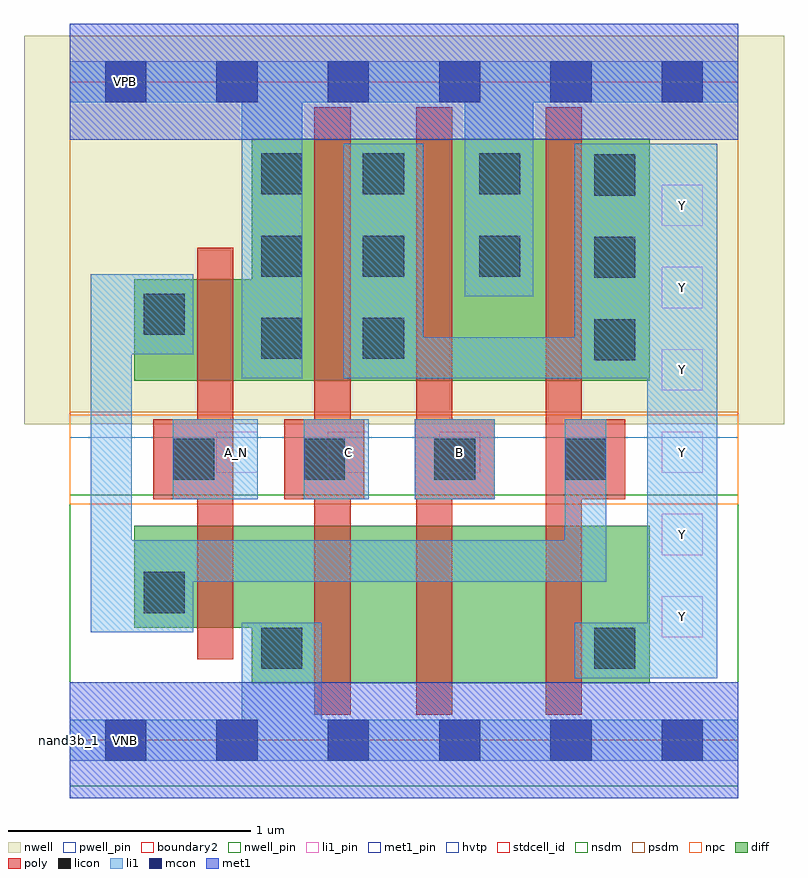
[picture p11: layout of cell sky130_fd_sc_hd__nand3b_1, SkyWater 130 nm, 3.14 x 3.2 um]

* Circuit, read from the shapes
.subckt sky130_fd_sc_hd__nand3b_1 A_N B C VGND VNB VPB VPWR Y
XM1 VGND A_N n1 VNB sky130_fd_pr__nfet_01v8 w=0.42 l=0.15
XM2 n2 C VGND VNB sky130_fd_pr__nfet_01v8 w=0.65 l=0.15
XM3 n3 B n2 VNB sky130_fd_pr__nfet_01v8 w=0.65 l=0.15
XM4 Y n1 n3 VNB sky130_fd_pr__nfet_01v8 w=0.65 l=0.15
XM5 VPWR A_N n1 VPB sky130_fd_pr__pfet_01v8_hvt w=0.42 l=0.15
XM6 Y C VPWR VPB sky130_fd_pr__pfet_01v8_hvt w=1 l=0.15
XM7 VPWR B Y VPB sky130_fd_pr__pfet_01v8_hvt w=1 l=0.15
XM8 Y n1 VPWR VPB sky130_fd_pr__pfet_01v8_hvt w=1 l=0.15
.ends

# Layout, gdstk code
import gdstk
lib = gdstk.Library(unit=1e-6, precision=1e-09)
def R(c, l, rs):  # rectangles x0, y0, x1, y1
    for r in rs: c.add(gdstk.rectangle(r[:2], r[2:], *l))
def A(c, l, x, y, w, h, nx, ny, dx, dy):  # array of equal rectangles
    R(c, l, [(x+i*dx, y+j*dy, x+i*dx+w, y+j*dy+h) for i in range(nx) for j in range(ny)])
def P(c, l, *ps):  # polygons
    for p in ps: c.add(gdstk.Polygon(p, *l))
nwell_pin = (64, 16)
nwell = (64, 20)
diff = (65, 20)
poly = (66, 20)
licon = (66, 44)
li1_pin = (67, 16)
li1 = (67, 20)
mcon = (67, 44)
met1_pin = (68, 16)
met1 = (68, 20)
hvtp = (78, 44)
stdcell_id = (81, 4)
nsdm = (93, 44)
psdm = (94, 20)
npc = (95, 20)
pwell_pin = (122, 16)
boundary2 = (236, 0)

sky130_fd_sc_hd__nand3b_ = lib.new_cell('sky130_fd_sc_hd__nand3b_1')
R(sky130_fd_sc_hd__nand3b_, nwell_pin, [(0.145,2.635,0.315,2.805)])
R(sky130_fd_sc_hd__nand3b_, nwell, [(-0.19,1.305,2.95,2.91)])
P(sky130_fd_sc_hd__nand3b_, diff, [(2.395,2.485),(0.75,2.485),(0.75,1.905),(0.265,1.905),(0.265,1.485),(2.395,1.485)],
  [(2.395,0.885),(0.265,0.885),(0.265,0.465),(0.75,0.465),(0.75,0.235),(2.395,0.235)])
P(sky130_fd_sc_hd__nand3b_, poly, [(2.295,1.325),(2.115,1.325),(2.115,2.615),(1.965,2.615),(1.965,0.105),(2.115,0.105),(2.115,0.995),(2.295,0.995)],
  [(0.675,2.035),(0.525,2.035),(0.525,1.325),(0.345,1.325),(0.345,0.995),(0.525,0.995),(0.525,0.335),(0.675,0.335)],
  [(1.215,1.325),(1.16,1.325),(1.16,2.615),(1.01,2.615),(1.01,1.325),(0.885,1.325),(0.885,0.995),(1.01,0.995),(1.01,0.105),(1.16,0.105),(1.16,0.995),(1.215,0.995)],
  [(1.755,1.325),(1.58,1.325),(1.58,2.615),(1.43,2.615),(1.43,1.325),(1.425,1.325),(1.425,0.995),(1.43,0.995),(1.43,0.105),(1.58,0.105),(1.58,0.995),(1.755,0.995)])
A(sky130_fd_sc_hd__nand3b_, licon, 0.425, 1.075, 0.17, 0.17, 4, 1, 0.54, 0)
A(sky130_fd_sc_hd__nand3b_, licon, 2.165, 1.57, 0.17, 0.17, 1, 3, 0, 0.34)
A(sky130_fd_sc_hd__nand3b_, licon, 0.79, 1.575, 0.17, 0.17, 1, 3, 0, 0.34)
A(sky130_fd_sc_hd__nand3b_, licon, 1.21, 1.575, 0.17, 0.17, 1, 3, 0, 0.34)
R(sky130_fd_sc_hd__nand3b_, licon, [(0.79,0.295,0.96,0.465), (2.165,0.295,2.335,0.465), (0.305,0.525,0.475,0.695), (0.305,1.675,0.475,1.845), (1.69,1.915,1.86,2.085), (1.69,2.255,1.86,2.425)])
A(sky130_fd_sc_hd__nand3b_, li1_pin, 2.445, 0.425, 0.17, 0.17, 1, 6, 0, 0.34)
A(sky130_fd_sc_hd__nand3b_, li1_pin, 0.605, 1.105, 0.17, 0.17, 3, 1, 0.46, 0)
R(sky130_fd_sc_hd__nand3b_, li1, [(0.425,0.995,0.775,1.325), (0.965,0.995,1.235,1.325), (1.425,0.995,1.755,1.325)])
P(sky130_fd_sc_hd__nand3b_, li1, [(2.76,2.805),(0,2.805),(0,2.635),(0.71,2.635),(0.71,1.495),(0.96,1.495),(0.96,2.635),(1.63,2.635),(1.63,1.835),(1.915,1.835),(1.915,2.635),(2.76,2.635)],
  [(2.675,2.465),(2.085,2.465),(2.085,1.665),(1.46,1.665),(1.46,2.465),(1.13,2.465),(1.13,1.495),(2.385,1.495),(2.385,0.485),(2.085,0.485),(2.085,0.255),(2.675,0.255)],
  [(2.76,0.085),(1.04,0.085),(1.04,0.485),(0.71,0.485),(0.71,0.085),(0,0.085),(0,-0.085),(2.76,-0.085)],
  [(2.215,1.325),(2.045,1.325),(2.045,0.825),(0.255,0.825),(0.255,1.595),(0.51,1.595),(0.51,1.925),(0.085,1.925),(0.085,0.445),(0.51,0.445),(0.51,0.655),(2.215,0.655)])
A(sky130_fd_sc_hd__nand3b_, mcon, 0.145, -0.085, 0.17, 0.17, 6, 2, 0.46, 2.72)
R(sky130_fd_sc_hd__nand3b_, met1_pin, [(0.145,-0.085,0.315,0.085), (0.145,2.635,0.315,2.805)])
R(sky130_fd_sc_hd__nand3b_, hvtp, [(0,1.25,2.76,2.72)])
R(sky130_fd_sc_hd__nand3b_, stdcell_id, [(0,0,2.76,2.72)])
R(sky130_fd_sc_hd__nand3b_, nsdm, [(0,-0.19,2.76,1.015)])
R(sky130_fd_sc_hd__nand3b_, psdm, [(0,1.355,2.76,2.91)])
R(sky130_fd_sc_hd__nand3b_, npc, [(0,0.975,2.76,1.345)])
R(sky130_fd_sc_hd__nand3b_, pwell_pin, [(0.145,-0.085,0.315,0.085)])
R(sky130_fd_sc_hd__nand3b_, boundary2, [(0,0,2.76,2.72)])
sky130_fd_sc_hd__nand3b_.add(gdstk.FlexPath([(0,2.72),(2.76,2.72)], 0.48, ends="flush", simple_path=True, layer=68, datatype=20))  # met1
sky130_fd_sc_hd__nand3b_.add(gdstk.FlexPath([(0,0),(2.76,0)], 0.48, ends="flush", simple_path=True, layer=68, datatype=20))  # met1
sky130_fd_sc_hd__nand3b_.add(gdstk.Label('B', (1.61,1.19), layer=67, texttype=5))
sky130_fd_sc_hd__nand3b_.add(gdstk.Label('C', (1.15,1.19), layer=67, texttype=5))
sky130_fd_sc_hd__nand3b_.add(gdstk.Label('A_N', (0.69,1.19), layer=67, texttype=5))
sky130_fd_sc_hd__nand3b_.add(gdstk.Label('Y', (2.53,0.51), layer=67, texttype=5))
sky130_fd_sc_hd__nand3b_.add(gdstk.Label('Y', (2.53,0.85), layer=67, texttype=5))
sky130_fd_sc_hd__nand3b_.add(gdstk.Label('Y', (2.53,1.19), layer=67, texttype=5))
sky130_fd_sc_hd__nand3b_.add(gdstk.Label('Y', (2.53,1.53), layer=67, texttype=5))
sky130_fd_sc_hd__nand3b_.add(gdstk.Label('Y', (2.53,1.87), layer=67, texttype=5))
sky130_fd_sc_hd__nand3b_.add(gdstk.Label('Y', (2.53,2.21), layer=67, texttype=5))
sky130_fd_sc_hd__nand3b_.add(gdstk.Label('VPB', (0.23,2.72), layer=64, texttype=5))
sky130_fd_sc_hd__nand3b_.add(gdstk.Label('VNB', (0.23,0), layer=64, texttype=59))
sky130_fd_sc_hd__nand3b_.add(gdstk.Label('VGND', (0.23,0), layer=68, texttype=5))
sky130_fd_sc_hd__nand3b_.add(gdstk.Label('VPWR', (0.23,2.72), layer=68, texttype=5))
sky130_fd_sc_hd__nand3b_.add(gdstk.Label('nand3b_1', (0,0), layer=83, texttype=44))

lib.write_gds('sky130_fd_sc_hd__nand3b_1.gds')
